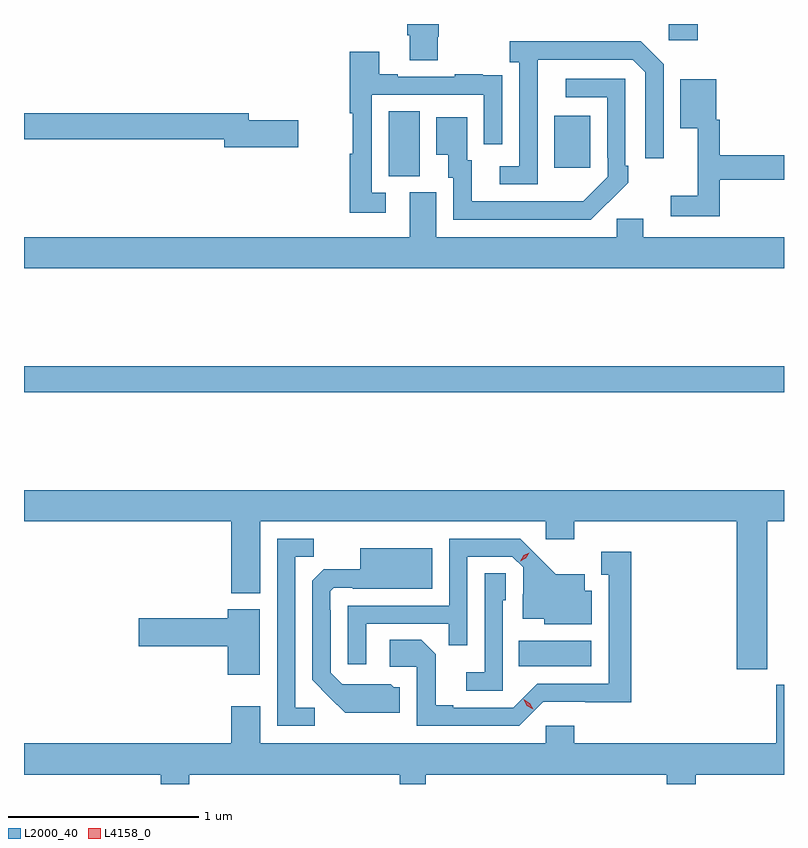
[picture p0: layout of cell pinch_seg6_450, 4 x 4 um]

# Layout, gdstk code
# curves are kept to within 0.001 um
import gdstk
lib = gdstk.Library(unit=1e-6, precision=1e-09)
def R(c, l, rs):  # rectangles x0, y0, x1, y1
    for r in rs: c.add(gdstk.rectangle(r[:2], r[2:], *l))
def P(c, l, *ps):  # polygons
    for p in ps: c.add(gdstk.Polygon(p, *l))
L2000_40 = (2000, 40)
L4158_0 = (4158, 0)

pinch_seg6_450 = lib.new_cell('pinch_seg6_450')
R(pinch_seg6_450, L2000_40, [(701.914,929.258,702.295,929.392), (699.309,930.7,703.309,930.836), (701.228,931.837,701.392,932.18), (702.101,931.881,702.289,932.155), (702.702,932.553,702.854,932.638)])
P(pinch_seg6_450, L2000_40, [(701.487,932.571),(701.492,932.571),(701.492,932.638),(701.327,932.638),(701.327,932.578),(701.339,932.578),(701.339,932.446),(701.487,932.446)],
  [(702.012,932.251),(702.013,932.451),(702.513,932.451),(702.579,932.385),(702.579,931.932),(702.675,931.932),(702.675,932.427),(702.554,932.548),(701.865,932.548),(701.865,932.438),(701.916,932.438),(701.916,931.89),(701.814,931.89),(701.814,931.794),(702.012,931.794)],
  [(701.212,931.749),(701.139,931.749),(701.139,932.265),(701.73,932.265),(701.73,932.004),(701.826,932.004),(701.826,932.258),(701.825,932.258),(701.825,932.367),(701.723,932.367),(701.723,932.374),(701.575,932.374),(701.575,932.361),(701.275,932.361),(701.275,932.374),(701.179,932.374),(701.179,932.491),(701.023,932.491),(701.023,932.168),(701.038,932.168),(701.038,931.956),(701.023,931.956),(701.023,931.644),(701.212,931.644)],
  [(702.383,931.699),(702.384,931.698),(702.489,931.803),(702.489,931.891),(702.474,931.891),(702.474,932.349),(702.159,932.349),(702.159,932.253),(702.378,932.253),(702.378,931.933),(702.381,931.933),(702.381,931.833),(702.253,931.705),(701.665,931.704),(701.665,931.92),(701.641,931.92),(701.641,932.146),(701.48,932.146),(701.48,931.949),(701.543,931.949),(701.543,931.83),(701.568,931.83),(701.568,931.608),(702.292,931.608)],
  [(702.971,931.818),(703.309,931.818),(703.309,931.946),(702.971,931.946),(702.971,932.133),(702.952,932.133),(702.952,932.347),(702.764,932.347),(702.764,932.09),(702.854,932.09),(702.854,931.735),(702.714,931.735),(702.714,931.626),(702.971,931.626)],
  [(700.753,932.132),(700.492,932.132),(700.492,932.168),(699.309,932.168),(699.309,932.032),(700.364,932.032),(700.364,931.99),(700.753,931.99)],
  [(703.309,931.516),(702.568,931.516),(702.568,931.614),(702.429,931.614),(702.429,931.516),(701.479,931.516),(701.479,931.752),(701.339,931.752),(701.339,931.516),(699.309,931.516),(699.309,931.352),(703.309,931.352)],
  [(703.221,930.02),(703.309,930.02),(703.309,930.184),(699.309,930.184),(699.309,930.02),(700.4,930.02),(700.4,929.642),(700.552,929.642),(700.552,930.02),(702.054,930.02),(702.054,929.925),(702.206,929.925),(702.206,930.02),(703.061,930.02),(703.061,929.241),(703.221,929.241)],
  [(700.84,929.04),(700.737,929.04),(700.737,929.833),(700.833,929.833),(700.833,929.928),(700.641,929.928),(700.641,928.944),(700.84,928.944)],
  [(701.109,929.481),(701.545,929.481),(701.545,929.368),(701.643,929.368),(701.643,929.835),(701.88,929.835),(701.937,929.778),(701.937,929.636),(701.933,929.636),(701.933,929.507),(702.048,929.507),(702.048,929.48),(702.298,929.48),(702.298,929.656),(702.259,929.656),(702.259,929.743),(702.107,929.743),(701.92,929.928),(701.547,929.928),(701.547,929.577),(701.013,929.577),(701.013,929.268),(701.109,929.268)],
  [(701.287,929.148),(701.256,929.148),(701.24,929.164),(700.983,929.163),(700.923,929.223),(700.923,929.552),(700.92,929.552),(700.92,929.652),(700.938,929.67),(701.038,929.67),(701.038,929.666),(701.458,929.666),(701.458,929.878),(701.078,929.878),(701.078,929.767),(700.886,929.767),(700.827,929.708),(700.827,929.186),(700.999,929.012),(701.287,929.012)],
  [(702.042,929.07),(702.505,929.069),(702.505,929.86),(702.347,929.86),(702.347,929.739),(702.386,929.739),(702.386,929.166),(702.009,929.166),(701.883,929.04),(701.569,929.04),(701.569,929.053),(701.475,929.053),(701.475,929.32),(701.399,929.396),(701.235,929.396),(701.235,929.256),(701.376,929.256),(701.376,928.944),(701.916,928.944)],
  [(701.829,929.604),(701.844,929.604),(701.844,929.747),(701.733,929.747),(701.733,929.227),(701.637,929.227),(701.637,929.13),(701.829,929.13)],
  [(700.549,929.557),(700.382,929.557),(700.382,929.51),(699.912,929.51),(699.912,929.363),(700.382,929.363),(700.382,929.214),(700.549,929.214)],
  [(700.18,928.688),(701.287,928.688),(701.287,928.638),(701.423,928.638),(701.423,928.688),(702.692,928.688),(702.692,928.638),(702.844,928.638),(702.844,928.688),(703.309,928.688),(703.309,929.161),(703.268,929.161),(703.268,928.852),(702.206,928.852),(702.206,928.945),(702.054,928.945),(702.054,928.852),(700.552,928.852),(700.552,929.047),(700.4,929.047),(700.4,928.852),(699.309,928.852),(699.309,928.688),(700.028,928.688),(700.028,928.638),(700.18,928.638)])
P(pinch_seg6_450, L4158_0, [(701.988,929.031),(701.956,929.05),(701.939,929.082),(701.939,929.083),(701.939,929.083),(701.971,929.064),(701.988,929.031),(701.988,929.031)],
  [(701.92,929.811),(701.92,929.811),(701.938,929.841),(701.968,929.856),(701.969,929.856),(701.969,929.856),(701.951,929.826),(701.92,929.811)])

lib.write_gds('pinch_seg6_450.gds')
